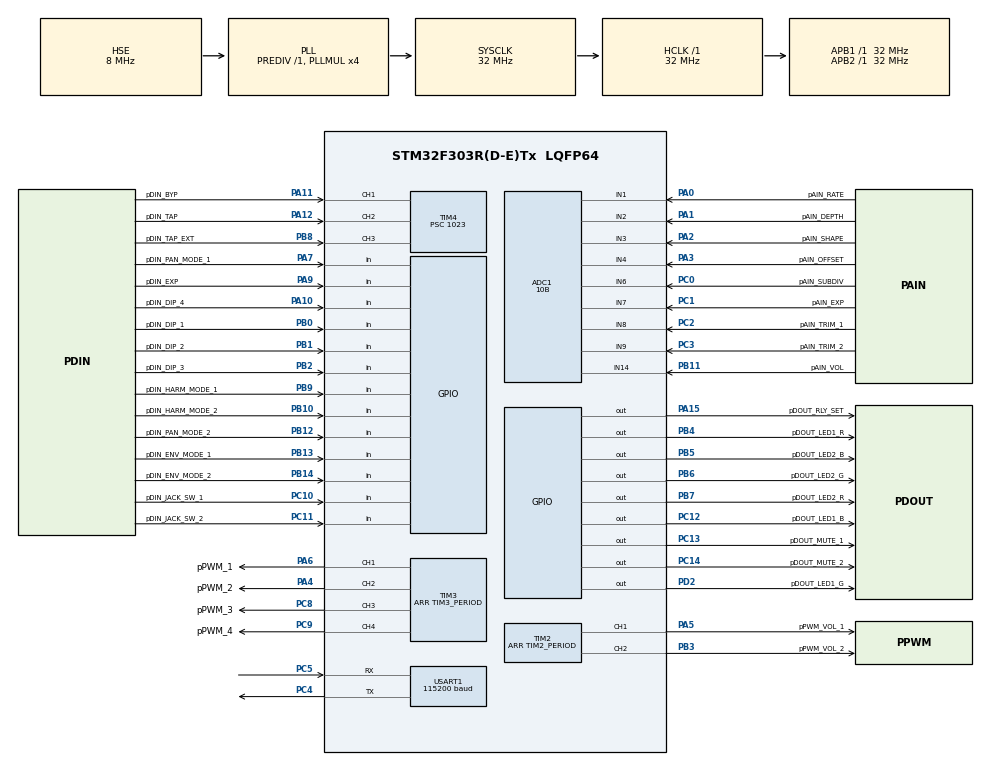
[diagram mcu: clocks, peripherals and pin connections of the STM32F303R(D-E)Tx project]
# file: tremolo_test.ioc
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ADC1.Channel-10\#ChannelRegularConversion=ADC_CHANNEL_2
ADC1.Channel-11\#ChannelRegularConversion=ADC_CHANNEL_3
ADC1.Channel-12\#ChannelRegularConversion=ADC_CHANNEL_4
ADC1.Channel-13\#ChannelRegularConversion=ADC_CHANNEL_6
ADC1.Channel-14\#ChannelRegularConversion=ADC_CHANNEL_7
ADC1.Channel-15\#ChannelRegularConversion=ADC_CHANNEL_8
ADC1.Channel-16\#ChannelRegularConversion=ADC_CHANNEL_9
ADC1.Channel-17\#ChannelRegularConversion=ADC_CHANNEL_14
ADC1.Channel-9\#ChannelRegularConversion=ADC_CHANNEL_1
ADC1.ClockPrescaler=ADC_CLOCK_ASYNC_DIV1
ADC1.ContinuousConvMode=ENABLE
ADC1.DMAContinuousRequests=ENABLE
ADC1.EOCSelection=ADC_EOC_SEQ_CONV
ADC1.EnableInjectedConversion=DISABLE
ADC1.EnableRegularConversion=ENABLE
ADC1.Mode=ADC_MODE_INDEPENDENT
ADC1.NbrOfConversion=9
ADC1.NbrOfConversionFlag=1
ADC1.Offset-10\#ChannelRegularConversion=0
ADC1.Offset-11\#ChannelRegularConversion=0
ADC1.Offset-12\#ChannelRegularConversion=0
ADC1.Offset-13\#ChannelRegularConversion=0
ADC1.Offset-14\#ChannelRegularConversion=0
ADC1.Offset-15\#ChannelRegularConversion=0
ADC1.Offset-16\#ChannelRegularConversion=0
ADC1.Offset-17\#ChannelRegularConversion=0
ADC1.Offset-9\#ChannelRegularConversion=0
ADC1.OffsetNumber-10\#ChannelRegularConversion=ADC_OFFSET_NONE
ADC1.OffsetNumber-11\#ChannelRegularConversion=ADC_OFFSET_NONE
ADC1.OffsetNumber-12\#ChannelRegularConversion=ADC_OFFSET_NONE
ADC1.OffsetNumber-13\#ChannelRegularConversion=ADC_OFFSET_NONE
ADC1.OffsetNumber-14\#ChannelRegularConversion=ADC_OFFSET_NONE
ADC1.OffsetNumber-15\#ChannelRegularConversion=ADC_OFFSET_NONE
ADC1.OffsetNumber-16\#ChannelRegularConversion=ADC_OFFSET_NONE
ADC1.OffsetNumber-17\#ChannelRegularConversion=ADC_OFFSET_NONE
ADC1.OffsetNumber-9\#ChannelRegularConversion=ADC_OFFSET_NONE
ADC1.Overrun=ADC_OVR_DATA_OVERWRITTEN
ADC1.Rank-10\#ChannelRegularConversion=2
ADC1.Rank-11\#ChannelRegularConversion=3
ADC1.Rank-12\#ChannelRegularConversion=4
ADC1.Rank-13\#ChannelRegularConversion=5
ADC1.Rank-14\#ChannelRegularConversion=6
ADC1.Rank-15\#ChannelRegularConversion=7
ADC1.Rank-16\#ChannelRegularConversion=8
ADC1.Rank-17\#ChannelRegularConversion=9
ADC1.Rank-9\#ChannelRegularConversion=1
ADC1.Resolution=ADC_RESOLUTION_10B
ADC1.SamplingTime-10\#ChannelRegularConversion=ADC_SAMPLETIME_1CYCLE_5
ADC1.SamplingTime-11\#ChannelRegularConversion=ADC_SAMPLETIME_1CYCLE_5
ADC1.SamplingTime-12\#ChannelRegularConversion=ADC_SAMPLETIME_1CYCLE_5
ADC1.SamplingTime-13\#ChannelRegularConversion=ADC_SAMPLETIME_1CYCLE_5
ADC1.SamplingTime-14\#ChannelRegularConversion=ADC_SAMPLETIME_1CYCLE_5
ADC1.SamplingTime-15\#ChannelRegularConversion=ADC_SAMPLETIME_1CYCLE_5
ADC1.SamplingTime-16\#ChannelRegularConversion=ADC_SAMPLETIME_1CYCLE_5
ADC1.SamplingTime-17\#ChannelRegularConversion=ADC_SAMPLETIME_1CYCLE_5
ADC1.SamplingTime-9\#ChannelRegularConversion=ADC_SAMPLETIME_1CYCLE_5
ADC1.SamplingTimeOPAMP-10\#ChannelRegularConversion=ADC_SAMPLETIME_4CYCLES_5
ADC1.SamplingTimeOPAMP-11\#ChannelRegularConversion=ADC_SAMPLETIME_4CYCLES_5
ADC1.SamplingTimeOPAMP-12\#ChannelRegularConversion=ADC_SAMPLETIME_4CYCLES_5
ADC1.SamplingTimeOPAMP-13\#ChannelRegularConversion=ADC_SAMPLETIME_4CYCLES_5
ADC1.SamplingTimeOPAMP-14\#ChannelRegularConversion=ADC_SAMPLETIME_4CYCLES_5
ADC1.SamplingTimeOPAMP-15\#ChannelRegularConversion=ADC_SAMPLETIME_4CYCLES_5
ADC1.SamplingTimeOPAMP-16\#ChannelRegularConversion=ADC_SAMPLETIME_4CYCLES_5
ADC1.SamplingTimeOPAMP-17\#ChannelRegularConversion=ADC_SAMPLETIME_4CYCLES_5
ADC1.SamplingTimeOPAMP-9\#ChannelRegularConversion=ADC_SAMPLETIME_4CYCLES_5
ADC1.master=1
Dma.ADC1.0.Direction=DMA_PERIPH_TO_MEMORY
Dma.ADC1.0.Instance=DMA1_Channel1
Dma.ADC1.0.MemDataAlignment=DMA_MDATAALIGN_WORD
Dma.ADC1.0.MemInc=DMA_MINC_ENABLE
Dma.ADC1.0.Mode=DMA_CIRCULAR
Dma.ADC1.0.PeriphDataAlignment=DMA_PDATAALIGN_HALFWORD
Dma.ADC1.0.PeriphInc=DMA_PINC_DISABLE
Dma.ADC1.0.Priority=DMA_PRIORITY_HIGH
Dma.Request0=ADC1
Dma.Request1=TIM4_CH2
Dma.Request2=TIM8_CH1
Dma.Request3=TIM8_CH2
Dma.Request4=TIM8_CH3/UP
Dma.Request5=TIM8_CH4/TRIG/COM
Dma.TIM4_CH2.1.Direction=DMA_PERIPH_TO_MEMORY
Dma.TIM4_CH2.1.Instance=DMA1_Channel4
Dma.TIM4_CH2.1.MemDataAlignment=DMA_MDATAALIGN_HALFWORD
Dma.TIM4_CH2.1.MemInc=DMA_MINC_ENABLE
Dma.TIM4_CH2.1.Mode=DMA_CIRCULAR
Dma.TIM4_CH2.1.PeriphDataAlignment=DMA_PDATAALIGN_HALFWORD
Dma.TIM4_CH2.1.PeriphInc=DMA_PINC_DISABLE
Dma.TIM4_CH2.1.Priority=DMA_PRIORITY_MEDIUM
Dma.TIM8_CH1.2.Direction=DMA_MEMORY_TO_PERIPH
Dma.TIM8_CH1.2.Instance=DMA2_Channel3
Dma.TIM8_CH1.2.MemDataAlignment=DMA_MDATAALIGN_HALFWORD
Dma.TIM8_CH1.2.MemInc=DMA_MINC_ENABLE
Dma.TIM8_CH1.2.Mode=DMA_CIRCULAR
Dma.TIM8_CH1.2.PeriphDataAlignment=DMA_PDATAALIGN_HALFWORD
Dma.TIM8_CH1.2.PeriphInc=DMA_PINC_DISABLE
Dma.TIM8_CH1.2.Priority=DMA_PRIORITY_HIGH
Dma.TIM8_CH2.3.Direction=DMA_MEMORY_TO_PERIPH
Dma.TIM8_CH2.3.Instance=DMA2_Channel5
Dma.TIM8_CH2.3.MemDataAlignment=DMA_MDATAALIGN_HALFWORD
Dma.TIM8_CH2.3.MemInc=DMA_MINC_ENABLE
Dma.TIM8_CH2.3.Mode=DMA_CIRCULAR
Dma.TIM8_CH2.3.PeriphDataAlignment=DMA_PDATAALIGN_HALFWORD
Dma.TIM8_CH2.3.PeriphInc=DMA_PINC_DISABLE
Dma.TIM8_CH2.3.Priority=DMA_PRIORITY_HIGH
Dma.TIM8_CH3/UP.4.Direction=DMA_MEMORY_TO_PERIPH
Dma.TIM8_CH3/UP.4.Instance=DMA2_Channel1
Dma.TIM8_CH3/UP.4.MemDataAlignment=DMA_MDATAALIGN_HALFWORD
Dma.TIM8_CH3/UP.4.MemInc=DMA_MINC_ENABLE
Dma.TIM8_CH3/UP.4.Mode=DMA_CIRCULAR
Dma.TIM8_CH3/UP.4.PeriphDataAlignment=DMA_PDATAALIGN_HALFWORD
Dma.TIM8_CH3/UP.4.PeriphInc=DMA_PINC_DISABLE
Dma.TIM8_CH3/UP.4.Priority=DMA_PRIORITY_HIGH
Dma.TIM8_CH4/TRIG/COM.5.Direction=DMA_MEMORY_TO_PERIPH
Dma.TIM8_CH4/TRIG/COM.5.Instance=DMA2_Channel2
Dma.TIM8_CH4/TRIG/COM.5.MemDataAlignment=DMA_MDATAALIGN_HALFWORD
Dma.TIM8_CH4/TRIG/COM.5.MemInc=DMA_MINC_ENABLE
Dma.TIM8_CH4/TRIG/COM.5.Mode=DMA_CIRCULAR
Dma.TIM8_CH4/TRIG/COM.5.PeriphDataAlignment=DMA_PDATAALIGN_HALFWORD
Dma.TIM8_CH4/TRIG/COM.5.PeriphInc=DMA_PINC_DISABLE
Dma.TIM8_CH4/TRIG/COM.5.Priority=DMA_PRIORITY_HIGH
Mcu.Family=STM32F3
Mcu.Name=STM32F303R(D-E)Tx
Mcu.Package=LQFP64
Mcu.UserConstants=TIM2_PERIOD,1023;TIM3_PERIOD,1023
NVIC.DMA1_Channel1_IRQn=true\:4\:0\:true\:false\:true\:false\:true\:true
NVIC.DMA1_Channel4_IRQn=true\:4\:0\:true\:false\:true\:false\:true\:true
NVIC.DMA2_Channel1_IRQn=true\:0\:0\:false\:false\:true\:false\:true\:true
NVIC.DMA2_Channel2_IRQn=true\:0\:0\:false\:false\:true\:false\:true\:true
NVIC.DMA2_Channel3_IRQn=true\:0\:0\:false\:false\:true\:false\:true\:true
NVIC.DMA2_Channel5_IRQn=true\:0\:0\:false\:false\:true\:false\:true\:true
NVIC.PriorityGroup=NVIC_PRIORITYGROUP_4
NVIC.TIM4_IRQn=true\:6\:0\:true\:false\:true\:true\:true\:true
PA0.GPIO_Label=pAIN_RATE
PA0.Mode=IN1-Single-Ended
PA0.Signal=ADC1_IN1
PA1.GPIO_Label=pAIN_DEPTH
PA1.Mode=IN2-Single-Ended
PA1.Signal=ADC1_IN2
PA10.GPIO_Label=pDIN_DIP_4
PA10.GPIO_PuPd=GPIO_PULLUP
PA10.Signal=GPIO_Input
PA11.GPIO_Label=pDIN_BYP
PA11.GPIO_PuPd=GPIO_PULLUP
PA11.Signal=S_TIM4_CH1
PA12.GPIO_Label=pDIN_TAP
PA12.GPIO_PuPd=GPIO_PULLUP
PA12.Signal=S_TIM4_CH2
PA13.Signal=SYS_JTMS-SWDIO
PA14.Signal=SYS_JTCK-SWCLK
PA15.GPIO_Label=pDOUT_RLY_SET
PA15.PinState=GPIO_PIN_SET
PA15.Signal=GPIO_Output
PA2.GPIO_Label=pAIN_SHAPE
PA2.Mode=IN3-Single-Ended
PA2.Signal=ADC1_IN3
PA3.GPIO_Label=pAIN_OFFSET
PA3.Mode=IN4-Single-Ended
PA3.Signal=ADC1_IN4
PA4.GPIO_Label=pPWM_2
PA4.Signal=S_TIM3_CH2
PA5.GPIO_Label=pPWM_VOL_1
PA5.GPIO_Speed=GPIO_SPEED_FREQ_HIGH
PA5.Signal=S_TIM2_CH1_ETR
PA6.GPIO_Label=pPWM_1
PA6.Signal=S_TIM3_CH1
PA7.GPIO_Label=pDIN_PAN_MODE_1
PA7.GPIO_PuPd=GPIO_PULLUP
PA7.Signal=GPIO_Input
PA9.GPIO_Label=pDIN_EXP
PA9.GPIO_PuPd=GPIO_PULLUP
PA9.Signal=GPIO_Input
PB0.GPIO_Label=pDIN_DIP_1
PB0.GPIO_PuPd=GPIO_PULLUP
PB0.Signal=GPIO_Input
PB1.GPIO_Label=pDIN_DIP_2
PB1.GPIO_PuPd=GPIO_PULLUP
PB1.Signal=GPIO_Input
PB10.GPIO_Label=pDIN_HARM_MODE_2
PB10.GPIO_PuPd=GPIO_PULLUP
PB10.Signal=GPIO_Input
PB11.GPIO_Label=pAIN_VOL
PB11.Mode=IN14-Single-Ended
PB11.Signal=ADC1_IN14
PB12.GPIO_Label=pDIN_PAN_MODE_2
PB12.GPIO_PuPd=GPIO_PULLUP
PB12.Signal=GPIO_Input
PB13.GPIO_Label=pDIN_ENV_MODE_1
PB13.GPIO_PuPd=GPIO_PULLUP
PB13.Signal=GPIO_Input
PB14.GPIO_Label=pDIN_ENV_MODE_2
PB14.GPIO_PuPd=GPIO_PULLUP
PB14.Signal=GPIO_Input
PB2.GPIO_Label=pDIN_DIP_3
PB2.GPIO_PuPd=GPIO_PULLUP
PB2.Signal=GPIO_Input
PB3.GPIO_Label=pPWM_VOL_2
PB3.GPIO_Speed=GPIO_SPEED_FREQ_HIGH
PB3.Signal=S_TIM2_CH2
PB4.GPIO_Label=pDOUT_LED1_R
PB4.PinState=GPIO_PIN_SET
PB4.Signal=GPIO_Output
PB5.GPIO_Label=pDOUT_LED2_B
PB5.PinState=GPIO_PIN_SET
PB5.Signal=GPIO_Output
PB6.GPIO_Label=pDOUT_LED2_G
PB6.PinState=GPIO_PIN_SET
PB6.Signal=GPIO_Output
PB7.GPIO_Label=pDOUT_LED2_R
PB7.PinState=GPIO_PIN_SET
PB7.Signal=GPIO_Output
PB8.GPIO_Label=pDIN_TAP_EXT
PB8.GPIO_PuPd=GPIO_PULLUP
PB8.Signal=S_TIM4_CH3
PB9.GPIO_Label=pDIN_HARM_MODE_1
PB9.GPIO_PuPd=GPIO_PULLUP
PB9.Signal=GPIO_Input
PC0.GPIO_Label=pAIN_SUBDIV
PC0.Signal=ADCx_IN6
PC1.GPIO_Label=pAIN_EXP
PC1.Signal=ADCx_IN7
PC10.GPIO_Label=pDIN_JACK_SW_1
PC10.GPIO_PuPd=GPIO_PULLUP
PC10.Signal=GPIO_Input
PC11.GPIO_Label=pDIN_JACK_SW_2
PC11.GPIO_PuPd=GPIO_PULLUP
PC11.Signal=GPIO_Input
PC12.GPIO_Label=pDOUT_LED1_B
PC12.PinState=GPIO_PIN_SET
PC12.Signal=GPIO_Output
PC13.GPIO_Label=pDOUT_MUTE_1
PC13.Signal=GPIO_Output
PC14-OSC32_IN.GPIO_Label=pDOUT_MUTE_2
PC14-OSC32_IN.Signal=GPIO_Output
PC2.GPIO_Label=pAIN_TRIM_1
PC2.Signal=ADCx_IN8
PC3.GPIO_Label=pAIN_TRIM_2
PC3.Signal=ADCx_IN9
PC4.Mode=Asynchronous
PC4.Signal=USART1_TX
PC5.Mode=Asynchronous
PC5.Signal=USART1_RX
PC8.GPIO_Label=pPWM_3
PC8.Signal=S_TIM3_CH3
PC9.GPIO_Label=pPWM_4
PC9.Signal=S_TIM3_CH4
PD2.GPIO_Label=pDOUT_LED1_G
PD2.PinState=GPIO_PIN_SET
PD2.Signal=GPIO_Output
PF0-OSC_IN.Mode=HSE-External-Oscillator
PF0-OSC_IN.Signal=RCC_OSC_IN
PF1-OSC_OUT.Mode=HSE-External-Oscillator
PF1-OSC_OUT.Signal=RCC_OSC_OUT
ProjectManager.HeapSize=0x200
ProjectManager.StackSize=0x400
ProjectManager.TargetToolchain=STM32CubeIDE
RCC.ADC12PRES=RCC_ADC12PLLCLK_DIV8
RCC.AHBFreq_Value=32000000
RCC.APB1Freq_Value=32000000
RCC.APB1TimFreq_Value=32000000
RCC.APB2Freq_Value=32000000
RCC.APB2TimFreq_Value=32000000
RCC.CortexFreq_Value=32000000
RCC.HCLKFreq_Value=32000000
RCC.HSE_VALUE=8000000
RCC.HSI_VALUE=8000000
RCC.LSE_VALUE=32768
RCC.PLLMUL=RCC_PLL_MUL4
RCC.PLLSourceVirtual=RCC_PLLSOURCE_HSE
RCC.SYSCLKFreq_VALUE=32000000
RCC.SYSCLKSourceVirtual=RCC_SYSCLKSOURCE_PLLCLK
RCC.TIM2Selection=RCC_TIM2CLK_PLLCLK
RCC.TIM34Selection=RCC_TIM34CLK_PLLCLK
RCC.TIM8Selection=RCC_TIM8CLK_PLLCLK
RCC.USBFreq_Value=32000000
SH.ADCx_IN6.0=ADC1_IN6,IN6-Single-Ended
SH.ADCx_IN6.1=ADC2_IN6
SH.ADCx_IN7.0=ADC1_IN7,IN7-Single-Ended
SH.ADCx_IN7.1=ADC2_IN7
SH.ADCx_IN8.0=ADC1_IN8,IN8-Single-Ended
SH.ADCx_IN9.0=ADC1_IN9,IN9-Single-Ended
SH.S_TIM2_CH1_ETR.0=TIM2_CH1,PWM Generation1 CH1
SH.S_TIM2_CH2.0=TIM2_CH2,PWM Generation2 CH2
SH.S_TIM3_CH1.0=TIM3_CH1,PWM Generation1 CH1
SH.S_TIM3_CH2.0=TIM3_CH2,PWM Generation2 CH2
SH.S_TIM3_CH3.0=TIM3_CH3,PWM Generation3 CH3
SH.S_TIM3_CH4.0=TIM3_CH4,PWM Generation4 CH4
SH.S_TIM4_CH1.0=TIM4_CH1,Input_Capture1_from_TI1
SH.S_TIM4_CH2.0=TIM4_CH2,Input_Capture2_from_TI2
SH.S_TIM4_CH3.0=TIM4_CH3,Input_Capture3_from_TI3
TIM2.AutoReloadPreload=TIM_AUTORELOAD_PRELOAD_ENABLE
TIM2.Channel-PWM\ Generation1\ CH1=TIM_CHANNEL_1
TIM2.Channel-PWM\ Generation2\ CH2=TIM_CHANNEL_2
TIM2.Period=TIM2_PERIOD
TIM2.TIM_MasterSlaveMode=TIM_MASTERSLAVEMODE_DISABLE
TIM3.Channel-PWM\ Generation1\ CH1=TIM_CHANNEL_1
TIM3.Channel-PWM\ Generation2\ CH2=TIM_CHANNEL_2
TIM3.Channel-PWM\ Generation3\ CH3=TIM_CHANNEL_3
TIM3.Channel-PWM\ Generation4\ CH4=TIM_CHANNEL_4
TIM3.OCPolarity_2=TIM_OCPOLARITY_HIGH
TIM3.OCPolarity_4=TIM_OCPOLARITY_HIGH
TIM3.Period=TIM3_PERIOD
TIM4.Channel-Input_Capture1_from_TI1=TIM_CHANNEL_1
TIM4.Channel-Input_Capture2_from_TI2=TIM_CHANNEL_2
TIM4.Channel-Input_Capture3_from_TI3=TIM_CHANNEL_3
TIM4.ICFilter_CH1=15
TIM4.ICFilter_CH2=15
TIM4.ICFilter_CH3=15
TIM4.ICPolarity_CH1=TIM_INPUTCHANNELPOLARITY_FALLING
TIM4.ICPolarity_CH2=TIM_INPUTCHANNELPOLARITY_FALLING
TIM4.ICPolarity_CH3=TIM_INPUTCHANNELPOLARITY_FALLING
TIM4.Prescaler=1023
TIM8.Channel-Output\ Compare1\ No\ Output=TIM_CHANNEL_1
TIM8.Channel-Output\ Compare2\ No\ Output=TIM_CHANNEL_2
TIM8.Channel-Output\ Compare3\ No\ Output=TIM_CHANNEL_3
TIM8.Channel-Output\ Compare4\ No\ Output=TIM_CHANNEL_4
TIM8.ClockDivision=TIM_CLOCKDIVISION_DIV2
TIM8.Period=1023
TIM8.Prescaler=0
USART1.BaudRate=115200
USART1.Parity=PARITY_NONE
USART1.VirtualMode-Asynchronous=VM_ASYNC
VP_TIM2_VS_ClockSourceINT.Mode=Internal
VP_TIM8_VS_no_output1.Mode=Output Compare1 No Output
VP_TIM8_VS_no_output2.Mode=Output Compare2 No Output
VP_TIM8_VS_no_output3.Mode=Output Compare3 No Output
VP_TIM8_VS_no_output4.Mode=Output Compare4 No Output
board=custom

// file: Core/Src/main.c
/* USER CODE BEGIN Header */
/**
  ******************************************************************************
  * @file           : main.c
  * @brief          : Main program body
  ******************************************************************************
  * @attention
  *
  * Copyright (c) 2022 STMicroelectronics.
  * All rights reserved.
  *
  * This software is licensed under terms that can be found in the LICENSE file
  * in the root directory of this software component.
  * If no LICENSE file comes with this software, it is provided AS-IS.
  *
  ******************************************************************************
  */
/* USER CODE END Header */
#include "main.h"
#include "adc.h"
#include "dma.h"
#include "tim.h"
#include "usart.h"
#include "gpio.h"

/* USER CODE BEGIN Includes */

#include "lib/sm_bypass.h"
#include "lib/led.h"

/* USER CODE END Includes */

/* USER CODE BEGIN PTD */

typedef struct {
	uint32_t *Rate;
	uint32_t *Depth;
	uint32_t *Shape;
	uint32_t *Offset;
	uint32_t *Subdiv;
	uint32_t *Exp;
	uint32_t *Trim1;
	uint32_t *Trim2;
	uint32_t *Vol;
} Adc;

typedef enum {
	STATE_STD,
	STATE_HARM,
	STATE_PAN,
} StatePhase;

typedef enum {
	EVENT_STD,
	EVENT_HARM,
	EVENT_PAN,
} EventPhase;

/* USER CODE END PTD */

/* USER CODE BEGIN PV */

LED LED_bypass;
LED LED_tap;

/* USER CODE END PV */

void SystemClock_Config(void);
/* USER CODE BEGIN PFP */

void led_toggle_tick(uint32_t, GPIO_TypeDef*, uint16_t);
void generate_triangle_wave_fixedpoint(uint32_t, uint32_t);
void generate_triangle_wave_floatingpoint(uint32_t, uint32_t);

void init_adc_channels(Adc*, uint32_t[]);
void init_LEDs(LED*, LED*);
void set_lfo_polarity();
void set_volume(uint16_t);
void set_rate(uint16_t);
void set_phase(StatePhase*, LED*);
void sm_phase(StatePhase*, EventPhase, LED*);

void My_DMA_XferCpltCallback(DMA_HandleTypeDef*);
void My_DMA_XferHalfCpltCallback(DMA_HandleTypeDef*);

/* USER CODE END PFP */

/* USER CODE BEGIN 0 */

uint32_t adc_array[ADC_DMA_BUF_LENGTH] = {0};

uint16_t dma_wavetable_a[WAVETABLE_WIDTH] = {0};
uint16_t dma_wavetable_b[WAVETABLE_WIDTH] = {0};

/* USER CODE END 0 */

int main(void)
{

  /* MCU Configuration--------------------------------------------------------*/

  /* Reset of all peripherals, Initializes the Flash interface and the Systick. */
  HAL_Init();

  /* USER CODE BEGIN Init */

  /* Iniitalize state machines */
  StateBypassSw state_bypass_sw = STATE_IDLE;
  StateEffect state_effect = STATE_BYPASS;
  StateRelayMute state_relay_mute = STATE_BYPASS_UNMUTE;
  StatePhase state_phase = STATE_STD;
  //StatePhase state_phase = STATE_MONO;
  //StateHarm state_harm = STATE_STANDARD;

  init_LEDs(&LED_bypass, &LED_tap);

  Adc adc_raw;
  init_adc_channels(&adc_raw, adc_array);

  /* USER CODE END Init */

  /* Configure the system clock */
  SystemClock_Config();

  /* USER CODE BEGIN SysInit */
  // Needs to be done first to fix bug in autogenerated code X_X
  MX_DMA_Init();
  /* USER CODE END SysInit */

  /* Initialize all configured peripherals */
  MX_GPIO_Init();
  MX_ADC1_Init();
  MX_TIM2_Init();
  MX_TIM3_Init();
  MX_DMA_Init();
  MX_USART1_UART_Init();
  MX_TIM4_Init();
  MX_TIM8_Init();
  /* USER CODE BEGIN 2 */

  // TODO clean up and move to function
  if (HAL_ADC_Start_DMA(&hadc1, adc_array,
		  ADC_DMA_BUF_LENGTH) != HAL_OK)
  {
	  Error_Handler();
  }

  // Start PWM for Volume outputs
  if ((HAL_TIM_PWM_Start(&htim2, TIM_CHANNEL_1) |
	  HAL_TIM_PWM_Start(&htim2, TIM_CHANNEL_2)) != HAL_OK)
  {
	  Error_Handler();
  }

  // Start PWM output for PWM timers (the ones that actually output the LFOs)
  if ((HAL_TIM_PWM_Start(&htim3, TIM_CHANNEL_1) |
	  HAL_TIM_PWM_Start(&htim3, TIM_CHANNEL_2) |
	  HAL_TIM_PWM_Start(&htim3, TIM_CHANNEL_3) |
	  HAL_TIM_PWM_Start(&htim3, TIM_CHANNEL_4)) != HAL_OK)
  {
	  Error_Handler();
  }

  // Link Transfer complete callback to DMA handle:
  hdma_tim8_ch1.XferCpltCallback = My_DMA_XferCpltCallback;
  hdma_tim8_ch1.XferHalfCpltCallback = My_DMA_XferHalfCpltCallback;
  hdma_tim8_ch2.XferCpltCallback = My_DMA_XferCpltCallback;
  hdma_tim8_ch2.XferHalfCpltCallback = My_DMA_XferHalfCpltCallback;
  hdma_tim8_ch3_up.XferCpltCallback = My_DMA_XferCpltCallback;
  hdma_tim8_ch3_up.XferHalfCpltCallback = My_DMA_XferHalfCpltCallback;
  hdma_tim8_ch4_trig_com.XferCpltCallback = My_DMA_XferCpltCallback;
  hdma_tim8_ch4_trig_com.XferHalfCpltCallback = My_DMA_XferHalfCpltCallback;

  // First just setting all 4 channels synced to same wavetable
  // TODO figure out best way to have different phases per channel
  __HAL_TIM_ENABLE_DMA(&htim8, TIM_DMA_CC1);
  __HAL_TIM_ENABLE_DMA(&htim8, TIM_DMA_CC2);
  __HAL_TIM_ENABLE_DMA(&htim8, TIM_DMA_CC3);
  __HAL_TIM_ENABLE_DMA(&htim8, TIM_DMA_CC4);
  __HAL_DMA_ENABLE_IT(&hdma_tim8_ch1, DMA_IT_HT);
  __HAL_DMA_ENABLE_IT(&hdma_tim8_ch2, DMA_IT_HT);
  __HAL_DMA_ENABLE_IT(&hdma_tim8_ch3_up, DMA_IT_HT);
  __HAL_DMA_ENABLE_IT(&hdma_tim8_ch4_trig_com, DMA_IT_HT);
  HAL_DMA_Start_IT(&hdma_tim8_ch1, (uint32_t)dma_wavetable_a, (uint32_t)&(TIM3->CCR1), WAVETABLE_WIDTH);
  HAL_DMA_Start_IT(&hdma_tim8_ch2, (uint32_t)dma_wavetable_b, (uint32_t)&(TIM3->CCR2), WAVETABLE_WIDTH);
  HAL_DMA_Start_IT(&hdma_tim8_ch3_up, (uint32_t)dma_wavetable_a, (uint32_t)&(TIM3->CCR3), WAVETABLE_WIDTH);
  HAL_DMA_Start_IT(&hdma_tim8_ch4_trig_com, (uint32_t)dma_wavetable_b, (uint32_t)&(TIM3->CCR4), WAVETABLE_WIDTH);

  // Start output compare for waveform timers (to update the wavetables)
  if ((HAL_TIM_OC_Start(&htim8, TIM_CHANNEL_1) |
	  HAL_TIM_OC_Start(&htim8, TIM_CHANNEL_2) |
	  HAL_TIM_OC_Start(&htim8, TIM_CHANNEL_3) |
	  HAL_TIM_OC_Start(&htim8, TIM_CHANNEL_4)) != HAL_OK)
  {
	  Error_Handler();
  }

/*
  // Enable transfer complete interrupts
  __HAL_DMA_ENABLE_IT(&hdma_tim8_ch1, DMA_IT_TC);
  __HAL_DMA_ENABLE_IT(&hdma_tim8_ch2, DMA_IT_TC);
  __HAL_DMA_ENABLE_IT(&hdma_tim8_ch3_up, DMA_IT_TC);
  __HAL_DMA_ENABLE_IT(&hdma_tim8_ch4_trig_com, DMA_IT_TC);
  // Enable transfer half complete interrupts
  __HAL_DMA_ENABLE_IT(&hdma_tim8_ch1, DMA_IT_HT);
  __HAL_DMA_ENABLE_IT(&hdma_tim8_ch2, DMA_IT_HT);
  __HAL_DMA_ENABLE_IT(&hdma_tim8_ch3_up, DMA_IT_HT);
  __HAL_DMA_ENABLE_IT(&hdma_tim8_ch4_trig_com, DMA_IT_HT);
*/

  /* USER CODE END 2 */

  /* Infinite loop */
  /* USER CODE BEGIN WHILE */
  while (1)
  {
	  // Toggle heartbeat LED
	  //led_toggle_tick(HEARTBEAT_MS, pDOUT_LED1_R_GPIO_Port, pDOUT_LED1_R_Pin);

	  // Check for bypass switch state and run state machine
	  EventBypassSw event_bypass_sw = EVENT_RELEASED;
	  if (!HAL_GPIO_ReadPin(pDIN_BYP_GPIO_Port, pDIN_BYP_Pin)){
		  event_bypass_sw = EVENT_PRESSED;
	  }
	  sm_bypass_sw(&state_bypass_sw, event_bypass_sw, &state_effect);

	  EventRelayMute event_relay_mute = EVENT_BYPASS;
	  if (state_effect == STATE_EFFECT){
		  event_relay_mute = EVENT_EFFECT;
	  }

	  sm_relay_mute(&state_relay_mute, event_relay_mute, &LED_bypass);

	  // Generate new triangle wave based on latest depth input
	  generate_triangle_wave_floatingpoint(*adc_raw.Depth, *adc_raw.Offset);

	  // Set parameters based on control inputs
	  set_rate(*adc_raw.Rate);
	  set_volume(*adc_raw.Vol);
	  set_phase(&state_phase, &LED_tap);

	  /* XXX: DEBUGGING CODE START */
	  // Toggle red LED 2 to measure loop time
	  //HAL_GPIO_TogglePin(pDOUT_LED2_R_GPIO_Port, pDOUT_LED2_R_Pin);

	  /* XXX: DEBUGGING CODE END */

  }
    /* USER CODE END WHILE */

}

void SystemClock_Config(void)
{
  RCC_OscInitTypeDef RCC_OscInitStruct = {0};
  RCC_ClkInitTypeDef RCC_ClkInitStruct = {0};
  RCC_PeriphCLKInitTypeDef PeriphClkInit = {0};

  /** Initializes the RCC Oscillators according to the specified parameters
  * in the RCC_OscInitTypeDef structure.
  */
  RCC_OscInitStruct.OscillatorType = RCC_OSCILLATORTYPE_HSE;
  RCC_OscInitStruct.HSEState = RCC_HSE_ON;
  RCC_OscInitStruct.HSIState = RCC_HSI_ON;
  RCC_OscInitStruct.PLL.PLLState = RCC_PLL_ON;
  RCC_OscInitStruct.PLL.PLLSource = RCC_PLLSOURCE_HSE;
  RCC_OscInitStruct.PLL.PLLMUL = RCC_PLL_MUL4;
  RCC_OscInitStruct.PLL.PREDIV = RCC_PREDIV_DIV1;
  if (HAL_RCC_OscConfig(&RCC_OscInitStruct) != HAL_OK)
  {
    Error_Handler();
  }

  /** Initializes the CPU, AHB and APB buses clocks
  */
  RCC_ClkInitStruct.ClockType = RCC_CLOCKTYPE_HCLK|RCC_CLOCKTYPE_SYSCLK
                              |RCC_CLOCKTYPE_PCLK1|RCC_CLOCKTYPE_PCLK2;
  RCC_ClkInitStruct.SYSCLKSource = RCC_SYSCLKSOURCE_PLLCLK;
  RCC_ClkInitStruct.AHBCLKDivider = RCC_SYSCLK_DIV1;
  RCC_ClkInitStruct.APB1CLKDivider = RCC_HCLK_DIV1;
  RCC_ClkInitStruct.APB2CLKDivider = RCC_HCLK_DIV1;

  if (HAL_RCC_ClockConfig(&RCC_ClkInitStruct, FLASH_LATENCY_1) != HAL_OK)
  {
    Error_Handler();
  }
  PeriphClkInit.PeriphClockSelection = RCC_PERIPHCLK_USART1|RCC_PERIPHCLK_TIM8
                              |RCC_PERIPHCLK_ADC12|RCC_PERIPHCLK_TIM2
                              |RCC_PERIPHCLK_TIM34;
  PeriphClkInit.Usart1ClockSelection = RCC_USART1CLKSOURCE_PCLK2;
  PeriphClkInit.Adc12ClockSelection = RCC_ADC12PLLCLK_DIV8;
  PeriphClkInit.Tim8ClockSelection = RCC_TIM8CLK_PLLCLK;
  PeriphClkInit.Tim2ClockSelection = RCC_TIM2CLK_PLLCLK;
  PeriphClkInit.Tim34ClockSelection = RCC_TIM34CLK_PLLCLK;
  if (HAL_RCCEx_PeriphCLKConfig(&PeriphClkInit) != HAL_OK)
  {
    Error_Handler();
  }
}

/* USER CODE BEGIN 4 */

// This maps named Adc struct members to the DMA buffer for convenience
void init_adc_channels(Adc *adc, uint32_t adc_buffer[]){
	adc->Rate = &adc_buffer[0];
	adc->Depth = &adc_buffer[1];
	adc->Shape = &adc_buffer[2];
	adc->Offset = &adc_buffer[3];
	adc->Subdiv = &adc_buffer[4];
	adc->Exp = &adc_buffer[5];
	adc->Trim1 = &adc_buffer[6];
	adc->Trim2 = &adc_buffer[7];
	adc->Vol = &adc_buffer[8];
}

// Initialize LEDs with GPIO ports/pins, and set default states
void init_LEDs(LED* LED_bypass, LED* LED_tap){
	LED_tap->PortRed = pDOUT_LED1_R_GPIO_Port;
	LED_tap->PinRed = pDOUT_LED1_R_Pin;
	LED_tap->PortGreen = pDOUT_LED1_G_GPIO_Port;
	LED_tap->PinGreen = pDOUT_LED1_G_Pin;
	LED_tap->PortBlue = pDOUT_LED1_B_GPIO_Port;
	LED_tap->PinBlue = pDOUT_LED1_B_Pin;

	LED_bypass->PortRed = pDOUT_LED2_R_GPIO_Port;
	LED_bypass->PinRed = pDOUT_LED2_R_Pin;
	LED_bypass->PortGreen = pDOUT_LED2_G_GPIO_Port;
	LED_bypass->PinGreen = pDOUT_LED2_G_Pin;
	LED_bypass->PortBlue = pDOUT_LED2_B_GPIO_Port;
	LED_bypass->PinBlue = pDOUT_LED2_B_Pin;

	set_LED_color(LED_tap, GREEN);
	set_LED_color(LED_bypass, GREEN);
	set_LED_state(LED_tap, OFF);
	set_LED_state(LED_bypass, OFF);
}

void set_phase(StatePhase* state, LED* LED_bypass){
	  uint32_t ph_right = HAL_GPIO_ReadPin(pDIN_HARM_MODE_1_GPIO_Port,
			  pDIN_HARM_MODE_1_Pin);
	  uint32_t ph_left = HAL_GPIO_ReadPin(pDIN_HARM_MODE_2_GPIO_Port,
			  pDIN_HARM_MODE_2_Pin);
	  if (!ph_left){sm_phase(state, EVENT_PAN, LED_bypass);}
	  else if (!ph_right){sm_phase(state, EVENT_HARM, LED_bypass);}
	  else {sm_phase(state, EVENT_STD, LED_bypass);}
}

// TODO this is a bad function.
// -> Maybe can simplify by using a struct to reduce states
void sm_phase(StatePhase* state, EventPhase event, LED* LED_bypass){
	switch (*state) {
		case STATE_STD:
			if (event == EVENT_HARM){
				*state = STATE_HARM;
				HAL_DMA_Abort(&hdma_tim8_ch1);
				HAL_DMA_Start_IT(&hdma_tim8_ch1, (uint32_t)dma_wavetable_a, (uint32_t)&(TIM3->CCR1), WAVETABLE_WIDTH);
				HAL_DMA_Abort(&hdma_tim8_ch2);
				HAL_DMA_Start_IT(&hdma_tim8_ch2, (uint32_t)dma_wavetable_b, (uint32_t)&(TIM3->CCR2), WAVETABLE_WIDTH);
				HAL_DMA_Abort(&hdma_tim8_ch3_up);
				HAL_DMA_Start_IT(&hdma_tim8_ch3_up, (uint32_t)dma_wavetable_b, (uint32_t)&(TIM3->CCR3), WAVETABLE_WIDTH);
				HAL_DMA_Abort(&hdma_tim8_ch4_trig_com);
				HAL_DMA_Start_IT(&hdma_tim8_ch4_trig_com, (uint32_t)dma_wavetable_a, (uint32_t)&(TIM3->CCR4), WAVETABLE_WIDTH);
				set_LED_color(LED_bypass, GREEN);
			}
			else if (event == EVENT_PAN){
				*state = STATE_PAN;
				HAL_DMA_Abort(&hdma_tim8_ch1);
				HAL_DMA_Start_IT(&hdma_tim8_ch1, (uint32_t)dma_wavetable_a, (uint32_t)&(TIM3->CCR1), WAVETABLE_WIDTH);
				HAL_DMA_Abort(&hdma_tim8_ch2);
				HAL_DMA_Start_IT(&hdma_tim8_ch2, (uint32_t)dma_wavetable_a, (uint32_t)&(TIM3->CCR2), WAVETABLE_WIDTH);
				HAL_DMA_Abort(&hdma_tim8_ch3_up);
				HAL_DMA_Start_IT(&hdma_tim8_ch3_up, (uint32_t)dma_wavetable_b, (uint32_t)&(TIM3->CCR3), WAVETABLE_WIDTH);
				HAL_DMA_Abort(&hdma_tim8_ch4_trig_com);
				HAL_DMA_Start_IT(&hdma_tim8_ch4_trig_com, (uint32_t)dma_wavetable_b, (uint32_t)&(TIM3->CCR4), WAVETABLE_WIDTH);
				set_LED_color(LED_bypass, BLUE);

			}
			break;
		case STATE_HARM:
			if (event == EVENT_STD){
				*state = STATE_STD;
				HAL_DMA_Abort(&hdma_tim8_ch1);
				HAL_DMA_Start_IT(&hdma_tim8_ch1, (uint32_t)dma_wavetable_a, (uint32_t)&(TIM3->CCR1), WAVETABLE_WIDTH);
				HAL_DMA_Abort(&hdma_tim8_ch2);
				HAL_DMA_Start_IT(&hdma_tim8_ch2, (uint32_t)dma_wavetable_a, (uint32_t)&(TIM3->CCR2), WAVETABLE_WIDTH);
				HAL_DMA_Abort(&hdma_tim8_ch3_up);
				HAL_DMA_Start_IT(&hdma_tim8_ch3_up, (uint32_t)dma_wavetable_a, (uint32_t)&(TIM3->CCR3), WAVETABLE_WIDTH);
				HAL_DMA_Abort(&hdma_tim8_ch4_trig_com);
				HAL_DMA_Start_IT(&hdma_tim8_ch4_trig_com, (uint32_t)dma_wavetable_a, (uint32_t)&(TIM3->CCR4), WAVETABLE_WIDTH);
				set_LED_color(LED_bypass, RED);
			}
			else if (event == EVENT_PAN){
				*state = STATE_PAN;
				HAL_DMA_Abort(&hdma_tim8_ch1);
				HAL_DMA_Start(&hdma_tim8_ch1, (uint32_t)dma_wavetable_a, (uint32_t)&(TIM3->CCR1), WAVETABLE_WIDTH);
				HAL_DMA_Abort(&hdma_tim8_ch2);
				HAL_DMA_Start(&hdma_tim8_ch2, (uint32_t)dma_wavetable_a, (uint32_t)&(TIM3->CCR2), WAVETABLE_WIDTH);
				HAL_DMA_Abort(&hdma_tim8_ch3_up);
				HAL_DMA_Start(&hdma_tim8_ch3_up, (uint32_t)dma_wavetable_b, (uint32_t)&(TIM3->CCR3), WAVETABLE_WIDTH);
				HAL_DMA_Abort(&hdma_tim8_ch4_trig_com);
				HAL_DMA_Start(&hdma_tim8_ch4_trig_com, (uint32_t)dma_wavetable_b, (uint32_t)&(TIM3->CCR4), WAVETABLE_WIDTH);
				set_LED_color(LED_bypass, BLUE);
			}
			break;
		case STATE_PAN:
			if (event == EVENT_STD){
				*state = STATE_STD;
				HAL_DMA_Abort(&hdma_tim8_ch1);
				HAL_DMA_Start_IT(&hdma_tim8_ch1, (uint32_t)dma_wavetable_a, (uint32_t)&(TIM3->CCR1), WAVETABLE_WIDTH);
				HAL_DMA_Abort(&hdma_tim8_ch2);
				HAL_DMA_Start_IT(&hdma_tim8_ch2, (uint32_t)dma_wavetable_a, (uint32_t)&(TIM3->CCR2), WAVETABLE_WIDTH);
				HAL_DMA_Abort(&hdma_tim8_ch3_up);
				HAL_DMA_Start_IT(&hdma_tim8_ch3_up, (uint32_t)dma_wavetable_a, (uint32_t)&(TIM3->CCR3), WAVETABLE_WIDTH);
				HAL_DMA_Abort(&hdma_tim8_ch4_trig_com);
				HAL_DMA_Start_IT(&hdma_tim8_ch4_trig_com, (uint32_t)dma_wavetable_a, (uint32_t)&(TIM3->CCR4), WAVETABLE_WIDTH);
				set_LED_color(LED_bypass, RED);

			}
			else if (event == EVENT_HARM){
				*state = STATE_HARM;
				HAL_DMA_Abort(&hdma_tim8_ch1);
				HAL_DMA_Start_IT(&hdma_tim8_ch1, (uint32_t)dma_wavetable_a, (uint32_t)&(TIM3->CCR1), WAVETABLE_WIDTH);
				HAL_DMA_Abort(&hdma_tim8_ch2);
				HAL_DMA_Start_IT(&hdma_tim8_ch2, (uint32_t)dma_wavetable_b, (uint32_t)&(TIM3->CCR2), WAVETABLE_WIDTH);
				HAL_DMA_Abort(&hdma_tim8_ch3_up);
				HAL_DMA_Start_IT(&hdma_tim8_ch3_up, (uint32_t)dma_wavetable_b, (uint32_t)&(TIM3->CCR3), WAVETABLE_WIDTH);
				HAL_DMA_Abort(&hdma_tim8_ch4_trig_com);
				HAL_DMA_Start_IT(&hdma_tim8_ch4_trig_com, (uint32_t)dma_wavetable_a, (uint32_t)&(TIM3->CCR4), WAVETABLE_WIDTH);
				set_LED_color(LED_bypass, GREEN);
			}
			break;

		default:
			break;
	}
}

void set_volume(uint16_t vol){
	float fl_vol = (float)(ADC_RESOLUTION - vol);
	float fl_vol_map = fl_vol * (VOL_MAP_MAX - VOL_MAP_MIN) / ADC_RESOLUTION;
	__HAL_TIM_SET_COMPARE(&htim2, TIM_CHANNEL_1, (uint16_t)fl_vol_map);
	__HAL_TIM_SET_COMPARE(&htim2, TIM_CHANNEL_2, (uint16_t)fl_vol_map);
}

// TODO implement with tap and external sync
// TODO add subdivision
void set_rate(uint16_t rate_knob){
	float fl_rate = (float)(ADC_RESOLUTION - rate_knob);
	float fl_rate_arr = fl_rate * (RATE_ARR_MAX - RATE_ARR_MIN) / ADC_RESOLUTION;
	uint16_t rate_arr = (uint16_t)fl_rate_arr;
	__HAL_TIM_SET_PRESCALER(&htim8, rate_arr);
}

void generate_triangle_wave_floatingpoint(uint32_t depth, uint32_t offset)
{
	float fl_depth = (float)depth;
	float fl_offset = (float) offset;
	float fl_max = WAVETABLE_DEPTH;
	float fl_min = WAVETABLE_DEPTH - fl_depth;
	// Step up is initialized later only if offset != 0
	float fl_step_up;
	float fl_step_down = fl_depth / (WAVETABLE_WIDTH-fl_offset);
	float fl_val = fl_min;

	uint16_t j = WAVETABLE_WIDTH>>1;

	if (offset > 0){
		fl_step_up = fl_depth / fl_offset;
		for (int i=0; i<offset; i++){
			dma_wavetable_a[i] = (uint16_t)fl_val;
			j = (j + 1) % (WAVETABLE_WIDTH);
			dma_wavetable_b[j] = (uint16_t)fl_val;
			fl_val = fl_val+fl_step_up;
		}
	}

	// Always want value at offset index to be max value
	fl_val = fl_max;
	for (int i=offset; i<WAVETABLE_WIDTH; i++){
		dma_wavetable_a[i] = (uint16_t)fl_val;
		j = (j + 1) % (WAVETABLE_WIDTH);
		dma_wavetable_b[j] = (uint16_t)fl_val;
		fl_val = fl_val-fl_step_down;
	}
	return;
}

void HAL_TIM_IC_CaptureCallback(TIM_HandleTypeDef *htim)
{

}

void HAL_ADC_ConvCpltCallback(ADC_HandleTypeDef* hadc)
{

}

void My_DMA_XferHalfCpltCallback(DMA_HandleTypeDef *hdma)
{
	// TODO don't call function from interrupt
	set_LED_state(&LED_tap, OFF);
	return;
}

void My_DMA_XferCpltCallback(DMA_HandleTypeDef *hdma)
{
	set_LED_state(&LED_tap, ON);
	return;
}

/* USER CODE END 4 */

void Error_Handler(void)
{
  /* USER CODE BEGIN Error_Handler_Debug */
  /* User can add his own implementation to report the HAL error return state */
  __disable_irq();

  HAL_GPIO_WritePin(pDOUT_LED2_B_GPIO_Port, pDOUT_LED2_B_Pin, LED_PIN_SET);
  HAL_GPIO_WritePin(pDOUT_LED2_R_GPIO_Port, pDOUT_LED2_R_Pin, LED_PIN_SET);
  HAL_GPIO_WritePin(pDOUT_LED2_G_GPIO_Port, pDOUT_LED2_G_Pin, LED_PIN_SET);
  HAL_GPIO_WritePin(pDOUT_LED1_B_GPIO_Port, pDOUT_LED1_B_Pin, LED_PIN_SET);
  HAL_GPIO_WritePin(pDOUT_LED1_R_GPIO_Port, pDOUT_LED1_R_Pin, LED_PIN_SET);
  HAL_GPIO_WritePin(pDOUT_LED1_G_GPIO_Port, pDOUT_LED1_G_Pin, LED_PIN_SET);

  while (1)
  {
	  HAL_Delay(250);

	  HAL_GPIO_TogglePin(pDOUT_LED2_B_GPIO_Port, pDOUT_LED2_B_Pin);
	  HAL_GPIO_TogglePin(pDOUT_LED2_R_GPIO_Port, pDOUT_LED2_R_Pin);
	  HAL_GPIO_TogglePin(pDOUT_LED2_G_GPIO_Port, pDOUT_LED2_G_Pin);
	  HAL_GPIO_TogglePin(pDOUT_LED1_B_GPIO_Port, pDOUT_LED1_B_Pin);
	  HAL_GPIO_TogglePin(pDOUT_LED1_R_GPIO_Port, pDOUT_LED1_R_Pin);
	  HAL_GPIO_TogglePin(pDOUT_LED1_G_GPIO_Port, pDOUT_LED1_G_Pin);

  }
  /* USER CODE END Error_Handler_Debug */
}
